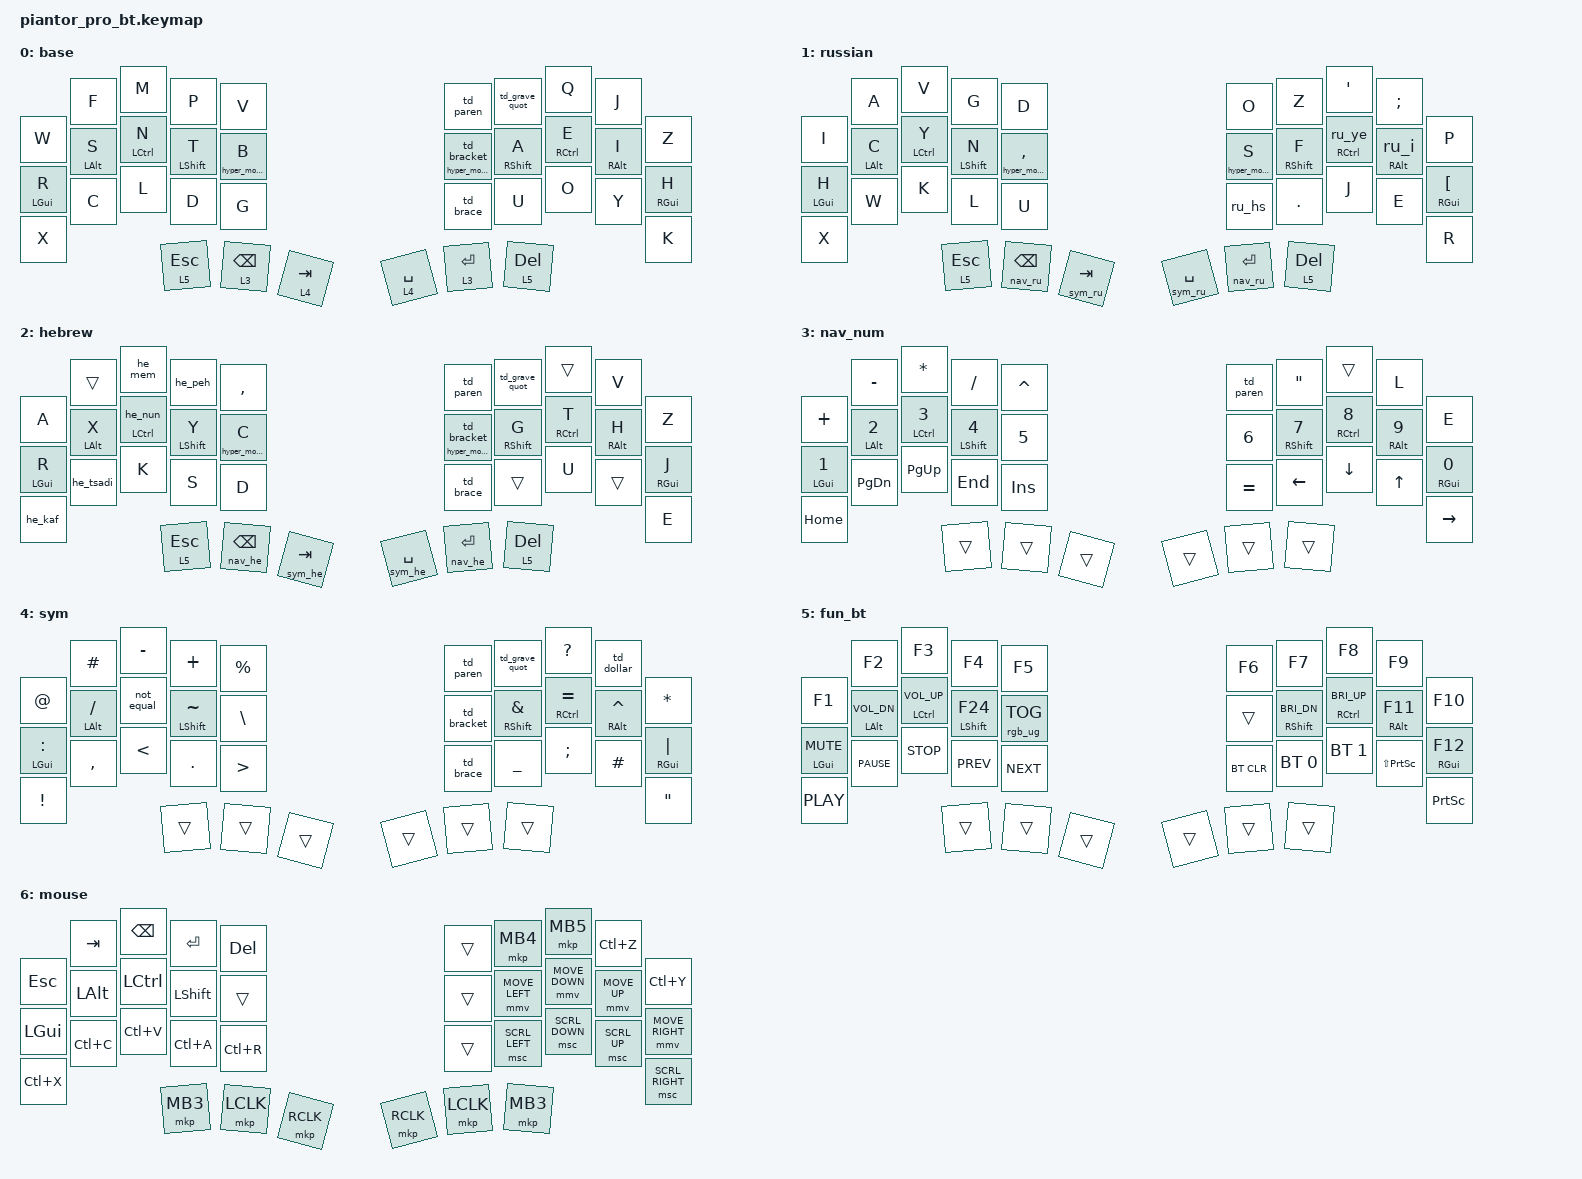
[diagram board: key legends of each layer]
/*
 * Piantor 36-key Layout - Miryoku based on Hands Down Neu
 *
 * Layer 0: Hands Down Neu (base) with home row mods
 * Layer 1: Russian
 * Layer 2: Hebrew
 * Layer 3: Numbers & Navigation
 * Layer 4: Symbols
 * Layer 5: Function keys & Bluetooth
 * Layer 6: Mouse Navigation
 */

#include <behaviors.dtsi>
#include <dt-bindings/zmk/keys.h>
#include <dt-bindings/zmk/bt.h>
#include <dt-bindings/zmk/outputs.h>
#include <dt-bindings/zmk/rgb.h>
#include <dt-bindings/zmk/mouse.h>

/ {
    chosen {
        zmk,physical-layout = &default_layout;
    };

    behaviors {
        // Left hand home row mods
        hml: homerow_mods_left {
            compatible = "zmk,behavior-hold-tap";
            #binding-cells = <2>;
            tapping-term-ms = <200>;
            quick-tap-ms = <175>;
            require-prior-idle-ms = <100>;
            flavor = "balanced";
            bindings = <&kp>, <&kp>;
        };

        // Right hand home row mods
        hmr: homerow_mods_right {
            compatible = "zmk,behavior-hold-tap";
            #binding-cells = <2>;
            tapping-term-ms = <200>;
            quick-tap-ms = <175>;
            require-prior-idle-ms = <100>;
            flavor = "balanced";
            bindings = <&kp>, <&kp>;
        };

        // Hyper key (all modifiers) on left hand home row
        hml_hyper: homerow_hyper_left {
            compatible = "zmk,behavior-hold-tap";
            #binding-cells = <2>;
            tapping-term-ms = <200>;
            quick-tap-ms = <175>;
            require-prior-idle-ms = <100>;
            flavor = "balanced";
            bindings = <&hyper_mods_left>, <&kp>;
        };

        // Hyper key (all modifiers) on right hand home row
        hmr_hyper: homerow_hyper_right {
            compatible = "zmk,behavior-hold-tap";
            #binding-cells = <2>;
            tapping-term-ms = <200>;
            quick-tap-ms = <175>;
            require-prior-idle-ms = <100>;
            flavor = "balanced";
            bindings = <&hyper_mods_right>, <&kp>;
        };

        // Hyper key with td_bracket tap (hold=hyper, tap=bracket tap-dance)
        hmr_hyper_bracket: homerow_hyper_bracket {
            compatible = "zmk,behavior-hold-tap";
            #binding-cells = <2>;
            tapping-term-ms = <200>;
            quick-tap-ms = <175>;
            require-prior-idle-ms = <100>;
            flavor = "balanced";
            bindings = <&hyper_mods_right>, <&td_bracket>;
        };

        // Russian hard/soft sign tap-dance (Ь/Ъ)
        ru_hs: russian_hard_soft {
            compatible = "zmk,behavior-tap-dance";
            #binding-cells = <0>;
            tapping-term-ms = <200>;
            bindings = <&kp M>, <&kp RBKT>;
        };

        // Russian ye/yo tap-dance (Е/Ё)
        ru_ye: russian_ye_yo {
            compatible = "zmk,behavior-tap-dance";
            #binding-cells = <0>;
            tapping-term-ms = <200>;
            bindings = <&kp T>, <&kp GRAVE>;
        };

        // Russian i/short-i tap-dance (И/Й)
        ru_i: russian_i_short {
            compatible = "zmk,behavior-tap-dance";
            #binding-cells = <0>;
            tapping-term-ms = <200>;
            bindings = <&kp B>, <&kp Q>;
        };

        // Hebrew peh/final-peh tap-dance (פ/ף)
        he_peh: hebrew_peh_final {
            compatible = "zmk,behavior-tap-dance";
            #binding-cells = <0>;
            tapping-term-ms = <200>;
            bindings = <&kp P>, <&kp SEMI>;
        };

        // Hebrew mem/final-mem tap-dance (מ/ם)
        he_mem: hebrew_mem_final {
            compatible = "zmk,behavior-tap-dance";
            #binding-cells = <0>;
            tapping-term-ms = <200>;
            bindings = <&kp N>, <&kp O>;
        };

        // Hebrew nun/final-nun tap-dance (נ/ן)
        he_nun: hebrew_nun_final {
            compatible = "zmk,behavior-tap-dance";
            #binding-cells = <0>;
            tapping-term-ms = <200>;
            bindings = <&kp B>, <&kp I>;
        };

        // Hebrew tsadi/final-tsadi tap-dance (צ/ץ)
        he_tsadi: hebrew_tsadi_final {
            compatible = "zmk,behavior-tap-dance";
            #binding-cells = <0>;
            tapping-term-ms = <200>;
            bindings = <&kp M>, <&kp DOT>;
        };

        // Hebrew kaf/final-kaf tap-dance (כ/ך)
        he_kaf: hebrew_kaf_final {
            compatible = "zmk,behavior-tap-dance";
            #binding-cells = <0>;
            tapping-term-ms = <200>;
            bindings = <&kp F>, <&kp L>;
        };

        // Home row mod with ye/yo tap-dance (hold=Shift, tap=Е/Ё)
        hm_ye: homerow_ye {
            compatible = "zmk,behavior-hold-tap";
            #binding-cells = <2>;
            tapping-term-ms = <200>;
            quick-tap-ms = <175>;
            require-prior-idle-ms = <100>;
            flavor = "balanced";
            bindings = <&kp>, <&ru_ye>;
        };

        // Home row mod with i/short-i tap-dance (hold=Ctrl, tap=И/Й)
        hm_i: homerow_i {
            compatible = "zmk,behavior-hold-tap";
            #binding-cells = <2>;
            tapping-term-ms = <200>;
            quick-tap-ms = <175>;
            require-prior-idle-ms = <100>;
            flavor = "balanced";
            bindings = <&kp>, <&ru_i>;
        };

        // Home row mod with nun/final-nun tap-dance (hold=Ctrl, tap=נ/ן)
        hm_nun: homerow_nun {
            compatible = "zmk,behavior-hold-tap";
            #binding-cells = <2>;
            tapping-term-ms = <200>;
            quick-tap-ms = <175>;
            require-prior-idle-ms = <100>;
            flavor = "balanced";
            bindings = <&kp>, <&he_nun>;
        };

        // Layer-tap for sym/nav layers from Hebrew (switches OS to English on hold)
        lt_sym_he: lt_sym_hebrew {
            compatible = "zmk,behavior-hold-tap";
            #binding-cells = <2>;
            tapping-term-ms = <200>;
            bindings = <&sym_he>, <&kp>;
        };

        lt_nav_he: lt_nav_hebrew {
            compatible = "zmk,behavior-hold-tap";
            #binding-cells = <2>;
            tapping-term-ms = <200>;
            bindings = <&nav_he>, <&kp>;
        };

        // Layer-tap for sym/nav layers from Russian (switches OS to English on hold)
        lt_sym_ru: lt_sym_russian {
            compatible = "zmk,behavior-hold-tap";
            #binding-cells = <2>;
            tapping-term-ms = <200>;
            bindings = <&sym_ru>, <&kp>;
        };

        lt_nav_ru: lt_nav_russian {
            compatible = "zmk,behavior-hold-tap";
            #binding-cells = <2>;
            tapping-term-ms = <200>;
            bindings = <&nav_ru>, <&kp>;
        };

        // Bracket/brace tap-dances
        td_brace: brace_pair {
            compatible = "zmk,behavior-tap-dance";
            #binding-cells = <0>;
            tapping-term-ms = <200>;
            bindings = <&lbrc_morph>, <&kp RBRC>;
        };

        // Left brace morphs to underscore when shifted (for caps_word)
        lbrc_morph: lbrc_underscore {
            compatible = "zmk,behavior-mod-morph";
            #binding-cells = <0>;
            bindings = <&kp LBRC>, <&kp UNDER>;
            mods = <(MOD_LSFT|MOD_RSFT)>;
        };

        td_bracket: bracket_pair {
            compatible = "zmk,behavior-tap-dance";
            #binding-cells = <0>;
            tapping-term-ms = <200>;
            bindings = <&kp LBKT>, <&kp RBKT>;
        };

        td_paren: paren_pair {
            compatible = "zmk,behavior-tap-dance";
            #binding-cells = <0>;
            tapping-term-ms = <200>;
            bindings = <&kp LPAR>, <&kp RPAR>;
        };

        td_grave_quot: grave_quot {
            compatible = "zmk,behavior-tap-dance";
            #binding-cells = <0>;
            tapping-term-ms = <200>;
            bindings = <&kp GRAVE>, <&kp APOS>;
        };

        // Dollar/Euro tap-dance ($→€)
        td_dollar: dollar_euro {
            compatible = "zmk,behavior-tap-dance";
            #binding-cells = <0>;
            tapping-term-ms = <200>;
            bindings = <&kp DLLR>, <&euro_sign>;
        };

        // Custom caps_word that continues on underscore, backspace, and delete
        caps_word {
            compatible = "zmk,behavior-caps-word";
            #binding-cells = <0>;
            continue-list = <UNDERSCORE BACKSPACE DELETE>;
        };
    };

    combos {
        compatible = "zmk,combos";

        // Language switching combos
        combo_switch_russian {
            timeout-ms = <50>;
            key-positions = <2 3>;  // M + P
            bindings = <&switch_ru>;
        };

        combo_switch_english {
            timeout-ms = <50>;
            key-positions = <12 13>;  // N + T
            bindings = <&switch_en>;
        };

        combo_switch_hebrew {
            timeout-ms = <50>;
            key-positions = <22 23>;  // L + D
            bindings = <&switch_he>;
        };

        // Toggle nav_num layer when both layer 3 modifiers are pressed
        combo_nav_num_toggle {
            timeout-ms = <50>;
            key-positions = <31 34>;  // lt 3 BSPC (left thumb) + lt 3 ENTER (right thumb)
            bindings = <&tog 3>;
        };

        // Toggle mouse layer when both layer 4 modifiers are pressed
        combo_mse_toggle {
            timeout-ms = <50>;
            key-positions = <32 33>;  // lt 4 TAB (left thumb) + lt 4 SPACE (right thumb)
            bindings = <&tog 6>;
        };

        // Activate caps_word when both layer 5 modifiers are pressed
        combo_fun_toggle {
            timeout-ms = <50>;
            key-positions = <30 35>;  // lt 5 ESC (left thumb) + lt 5 DEL (right thumb)
            bindings = <&caps_word>;
        };
    };

    macros {
        // Hyper modifier with left modifiers (for left hand)
        hyper_mods_left: hyper_mods_left {
            compatible = "zmk,behavior-macro";
            #binding-cells = <0>;
            bindings = <&macro_press &kp LCTRL &kp LALT &kp LSHFT &kp LGUI>,
                       <&macro_pause_for_release>,
                       <&macro_release &kp LGUI &kp LSHFT &kp LALT &kp LCTRL>;
        };

        // Hyper modifier with right modifiers (for right hand)
        hyper_mods_right: hyper_mods_right {
            compatible = "zmk,behavior-macro";
            #binding-cells = <0>;
            bindings = <&macro_press &kp RCTRL &kp RALT &kp RSHFT &kp RGUI>,
                       <&macro_pause_for_release>,
                       <&macro_release &kp RGUI &kp RSHFT &kp RALT &kp RCTRL>;
        };

        // Switch to English (layer 0 + OS Ctrl+Shift+Super+Alt+1)
        switch_en: switch_english {
            compatible = "zmk,behavior-macro";
            #binding-cells = <0>;
            bindings = <&to 0 &macro_press &kp LCTRL &kp LSHFT &kp LGUI &kp LALT &macro_tap &kp N1 &macro_release &kp LCTRL &kp LSHFT &kp LGUI &kp LALT>;
            wait-ms = <10>;
            tap-ms = <10>;
        };

        // Switch to Russian (layer 1 + OS Ctrl+Shift+Super+Alt+2)
        switch_ru: switch_russian {
            compatible = "zmk,behavior-macro";
            #binding-cells = <0>;
            bindings = <&to 1 &macro_press &kp LCTRL &kp LSHFT &kp LGUI &kp LALT &macro_tap &kp N2 &macro_release &kp LCTRL &kp LSHFT &kp LGUI &kp LALT>;
            wait-ms = <10>;
            tap-ms = <10>;
        };

        // Switch to Hebrew (layer 2 + OS Ctrl+Shift+Super+Alt+3)
        switch_he: switch_hebrew {
            compatible = "zmk,behavior-macro";
            #binding-cells = <0>;
            bindings = <&to 2 &macro_press &kp LCTRL &kp LSHFT &kp LGUI &kp LALT &macro_tap &kp N3 &macro_release &kp LCTRL &kp LSHFT &kp LGUI &kp LALT>;
            wait-ms = <10>;
            tap-ms = <10>;
        };

        // Euro sign (€) via Linux Unicode input: Ctrl+Shift+U 20ac Enter
        euro_sign: euro_sign_macro {
            compatible = "zmk,behavior-macro";
            #binding-cells = <0>;
            bindings = <&macro_press &kp LCTRL &kp LSHFT>, <&macro_tap &kp U>, <&macro_release &kp LCTRL &kp LSHFT>,
                       <&kp N2>, <&kp N0>, <&kp A>, <&kp C>, <&kp ENTER>;
            wait-ms = <10>;
            tap-ms = <10>;
        };

        // Not equal operator (!=)
        not_equal: not_equal_operator {
            compatible = "zmk,behavior-macro";
            #binding-cells = <0>;
            bindings = <&kp EXCL>, <&kp EQUAL>;
            wait-ms = <10>;
            tap-ms = <10>;
        };

        // Layer 4 (sym) from Hebrew: switch OS to English on hold, back to Hebrew on release
        sym_he: sym_from_hebrew {
            compatible = "zmk,behavior-macro";
            #binding-cells = <0>;
            bindings =
                <&macro_press &kp LCTRL &kp LSHFT &kp LGUI &kp LALT>,
                <&macro_tap &kp N1>,
                <&macro_release &kp LCTRL &kp LSHFT &kp LGUI &kp LALT>,
                <&macro_press &mo 4>,
                <&macro_pause_for_release>,
                <&macro_release &mo 4>,
                <&macro_press &kp LCTRL &kp LSHFT &kp LGUI &kp LALT>,
                <&macro_tap &kp N3>,
                <&macro_release &kp LCTRL &kp LSHFT &kp LGUI &kp LALT>;
            wait-ms = <10>;
            tap-ms = <10>;
        };

        // Layer 3 (nav_num) from Hebrew: switch OS to English on hold, back to Hebrew on release
        nav_he: nav_from_hebrew {
            compatible = "zmk,behavior-macro";
            #binding-cells = <0>;
            bindings =
                <&macro_press &kp LCTRL &kp LSHFT &kp LGUI &kp LALT>,
                <&macro_tap &kp N1>,
                <&macro_release &kp LCTRL &kp LSHFT &kp LGUI &kp LALT>,
                <&macro_press &mo 3>,
                <&macro_pause_for_release>,
                <&macro_release &mo 3>,
                <&macro_press &kp LCTRL &kp LSHFT &kp LGUI &kp LALT>,
                <&macro_tap &kp N3>,
                <&macro_release &kp LCTRL &kp LSHFT &kp LGUI &kp LALT>;
            wait-ms = <10>;
            tap-ms = <10>;
        };

        // Layer 4 (sym) from Russian: switch OS to English on hold, back to Russian on release
        sym_ru: sym_from_russian {
            compatible = "zmk,behavior-macro";
            #binding-cells = <0>;
            bindings =
                <&macro_press &kp LCTRL &kp LSHFT &kp LGUI &kp LALT>,
                <&macro_tap &kp N1>,
                <&macro_release &kp LCTRL &kp LSHFT &kp LGUI &kp LALT>,
                <&macro_press &mo 4>,
                <&macro_pause_for_release>,
                <&macro_release &mo 4>,
                <&macro_press &kp LCTRL &kp LSHFT &kp LGUI &kp LALT>,
                <&macro_tap &kp N2>,
                <&macro_release &kp LCTRL &kp LSHFT &kp LGUI &kp LALT>;
            wait-ms = <10>;
            tap-ms = <10>;
        };

        // Layer 3 (nav_num) from Russian: switch OS to English on hold, back to Russian on release
        nav_ru: nav_from_russian {
            compatible = "zmk,behavior-macro";
            #binding-cells = <0>;
            bindings =
                <&macro_press &kp LCTRL &kp LSHFT &kp LGUI &kp LALT>,
                <&macro_tap &kp N1>,
                <&macro_release &kp LCTRL &kp LSHFT &kp LGUI &kp LALT>,
                <&macro_press &mo 3>,
                <&macro_pause_for_release>,
                <&macro_release &mo 3>,
                <&macro_press &kp LCTRL &kp LSHFT &kp LGUI &kp LALT>,
                <&macro_tap &kp N2>,
                <&macro_release &kp LCTRL &kp LSHFT &kp LGUI &kp LALT>;
            wait-ms = <10>;
            tap-ms = <10>;
        };

    };

    keymap {
        compatible = "zmk,keymap";

        // Layer 0: Hands Down Neu with home row mods
        // Top:    W    F    M    P    V         (→)    `→'    Q    J    Z
        // Home:   R    S    N    T    B         [→]    A      E    I    H
        // Bottom: X    C    L    D    G         {→}    U      O    Y    K
        // Thumbs:           Esc  Bspc Tab       Spc    Ent    Del
        base {
            bindings = <
                &kp W         &kp F         &kp M             &kp P               &kp V                     &td_paren               &td_grave_quot      &kp Q           &kp J         &kp Z
                &hml LGUI R   &hml LALT S   &hml LCTRL N      &hml LSHFT T        &hml_hyper 0 B            &hmr_hyper_bracket 0 0  &hmr RSHFT A        &hmr RCTRL E    &hmr RALT I   &hmr RGUI H
                &kp X         &kp C         &kp L             &kp D               &kp G                     &td_brace               &kp U               &kp O           &kp Y         &kp K
                                            &lt 5 ESC         &lt 3 BSPC          &lt 4 TAB                 &lt 4 SPACE             &lt 3 ENTER         &lt 5 DEL
            >;
        };

        // Layer 1: Russian (phonetic layout based on Hands Down Neu - requires OS set to Russian ЙЦУКЕН)
        // Top:    Ш    Ф    М    П    В         Щ      Я      Э      Ж      З
        // Home:   Р    С    Н    Т    Б         Ы      А      Е/Ё    И/Й    Х
        // Bottom: Ч    Ц    Л    Д    Г         Ь/Ъ    Ю      О      У      К
        // Thumbs:           Esc  Bspc Tab       Spc    Ent    Del
        russian {
            bindings = <
                &kp I         &kp A         &kp V             &kp G               &kp D                     &kp O                   &kp Z               &kp SQT         &kp SEMI      &kp P
                &hml LGUI H   &hml LALT C   &hml LCTRL Y      &hml LSHFT N        &hml_hyper 0 COMMA        &hmr_hyper 0 S          &hmr RSHFT F        &hm_ye RCTRL 0  &hm_i RALT 0  &hmr RGUI LBKT
                &kp X         &kp W         &kp K             &kp L               &kp U                     &ru_hs                  &kp DOT             &kp J           &kp E         &kp R
                                            &lt 5 ESC         &lt_nav_ru 0 BSPC   &lt_sym_ru 0 TAB          &lt_sym_ru 0 SPACE      &lt_nav_ru 0 ENTER  &lt 5 DEL
            >;
        };

        // Layer 2: Hebrew (phonetic layout based on Hands Down Neu - requires OS set to Hebrew)
        // Top:    ש    -    מ/ם  פ/ף  ת         (→)    `→'    -      ה      ז
        // Home:   ר    ס    נ/ן  ט    ב         [→]    ע      א      י      ח
        // Bottom: כ/ך  צ/ץ  ל    ד    ג         {→}    -      ו      -      ק
        // Thumbs:           Esc  Bspc Tab       Spc    Ent    Del
        hebrew {
            bindings = <
                &kp A         &trans        &he_mem           &he_peh             &kp COMMA                 &td_paren               &td_grave_quot      &trans          &kp V         &kp Z
                &hml LGUI R   &hml LALT X   &hm_nun LCTRL 0   &hml LSHFT Y        &hml_hyper 0 C            &hmr_hyper_bracket 0 0  &hmr RSHFT G        &hmr RCTRL T    &hmr RALT H   &hmr RGUI J
                &he_kaf       &he_tsadi     &kp K             &kp S               &kp D                     &td_brace               &trans              &kp U           &trans        &kp E
                                            &lt 5 ESC         &lt_nav_he 0 BSPC   &lt_sym_he 0 TAB          &lt_sym_he 0 SPACE      &lt_nav_he 0 ENTER  &lt 5 DEL
            >;
        };

        // Layer 3: Numbers
        // Top:    +        -       *       /       ^           (->)    "       sqrt    l       e
        // Home:   1        2       3       4       5           6       7       8       9       0
        // Bottom: Home     PgDn    PgUp    End     Ins         =       ←       ↓       ↑       →
        // Thumbs:                  -       -       -           -       -       -
        nav_num {
            bindings = <
                &kp PLUS         &kp MINUS        &kp STAR         &kp SLASH        &kp CARET          &td_paren    &kp DQT          &trans             &kp L               &kp E
                &hml LGUI N1     &hml LALT N2     &hml LCTRL N3    &hml LSHFT N4    &kp N5             &kp N6       &hmr RSHFT N7    &hmr RCTRL N8      &hmr RALT N9        &hmr RGUI N0
                &kp HOME         &kp PG_DN        &kp PG_UP        &kp END          &kp INS            &kp EQUAL    &kp LEFT         &kp DOWN           &kp UP              &kp RIGHT
                                                  &trans           &trans           &trans             &trans       &trans           &trans
            >;
        };

        // Layer 4: Symbols & Punctuation
        // Top:    @    #    -    +    %         (→)    `→'    ?      $      *
        // Home:   :    /    !=   ~    \         [→]    &      =      ^      |
        // Bottom: !    ,    <    .    >         {→}    _      ;      #      "
        // Thumbs:           -    -    -         -      -      -
        sym {
            bindings = <
                &kp AT            &kp HASH          &kp MINUS         &kp PLUS          &kp PRCNT           &td_paren       &td_grave_quot      &kp QMARK           &td_dollar       &kp STAR
                &hml LGUI COLON   &hml LALT SLASH   &not_equal        &hml LSHFT TILDE  &kp BSLH            &td_bracket     &hmr RSHFT AMPS     &hmr RCTRL EQUAL    &hmr RALT CARET  &hmr RGUI PIPE
                &kp EXCL          &kp COMMA         &kp LT            &kp DOT           &kp GT              &td_brace       &kp UNDER           &kp SEMI            &kp HASH         &kp DQT
                                                    &trans            &trans            &trans              &trans          &trans              &trans
            >;
        };

        // Layer 5: Function keys, Bluetooth & Media
        // Top:    F1   F2   F3   F4   F5        F6     F7     F8     F9     F10
        // Home:   Mute Vol- Vol+ Shft RGB       -      Bri-   Bri+   F11    F12
        //                       /MicM (tap=F24 mic mute, hold=Shift)
        // Bottom: Play Pause Stop Prev Next     BTClr  BT0    BT1    S-PSc  PScrn
        // Thumbs:           -    -    -         -      -      -
        fun_bt {
            bindings = <
                &kp F1            &kp F2              &kp F3               &kp F4      &kp F5                  &kp F6          &kp F7               &kp F8               &kp F9            &kp F10
                &hml LGUI C_MUTE  &hml LALT C_VOL_DN  &hml LCTRL C_VOL_UP  &hml LSHFT F24   &rgb_ug RGB_TOG         &trans          &hmr RSHFT C_BRI_DN  &hmr RCTRL C_BRI_UP  &hmr RALT F11     &hmr RGUI F12
                &kp C_PLAY        &kp C_PAUSE         &kp C_STOP           &kp C_PREV  &kp C_NEXT              &bt BT_CLR      &bt BT_SEL 0         &bt BT_SEL 1         &kp LS(PSCRN)     &kp PSCRN
                                                      &trans               &trans      &trans                  &trans          &trans               &trans
            >;
        };

        // Layer 6: Mouse Navigation
        // Left hand: Modifiers + clipboard shortcuts
        // Right hand: Mouse buttons + movement + scrolling
        // Top:    Esc  Tab     Bspc        Enter       Del         -       Back    Fwd     Undo    Redo
        // Home:   Gui  Alt     Ctrl        Shft        -           -       Ms←     Ms↓     Ms↑     Ms→
        // Bottom: Cut  Copy    Paste       Select All  Refresh     -       Scrl←   Scrl↓   Scrl↑   Scrl→
        // Thumbs:              MClk        LClk        RClk        RClk    LClk    MClk
        mouse {
            bindings = <
                &kp ESC     &kp TAB     &kp BSPC    &kp ENTER   &kp DEL         &trans          &mkp MB4        &mkp MB5         &kp LC(Z)      &kp LC(Y)
                &kp LGUI    &kp LALT    &kp LCTRL   &kp LSHFT   &trans          &trans          &mmv MOVE_LEFT  &mmv MOVE_DOWN   &mmv MOVE_UP   &mmv MOVE_RIGHT
                &kp LC(X)   &kp LC(C)   &kp LC(V)   &kp LC(A)   &kp LC(R)       &trans          &msc SCRL_LEFT  &msc SCRL_DOWN   &msc SCRL_UP   &msc SCRL_RIGHT
                                        &mkp MB3    &mkp LCLK   &mkp RCLK       &mkp RCLK       &mkp LCLK       &mkp MB3
            >;
        };
    };
};
